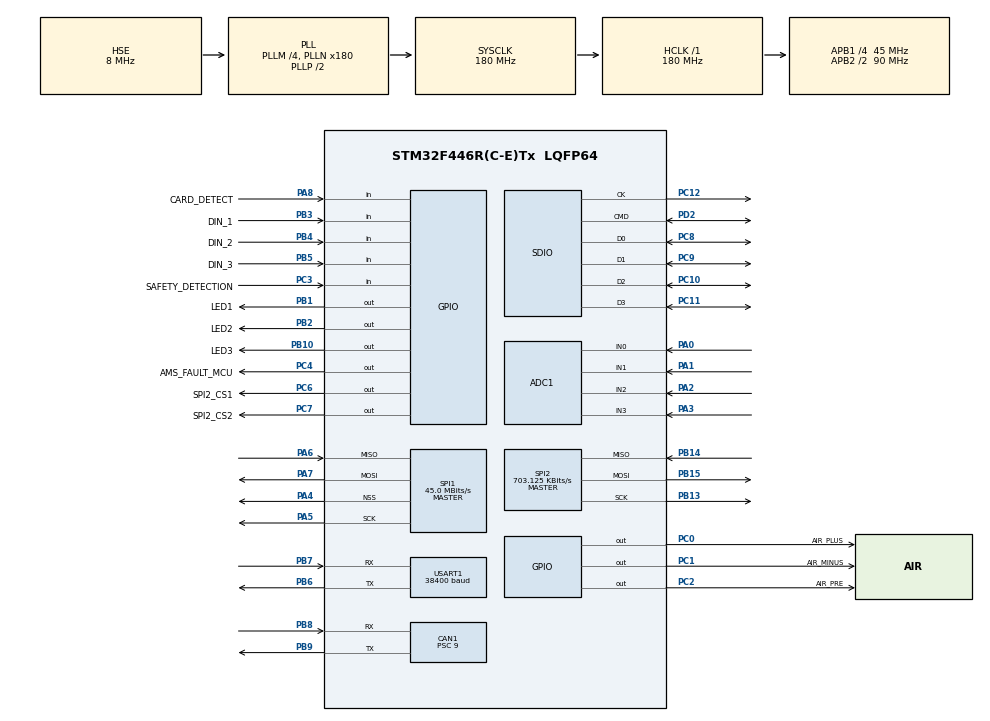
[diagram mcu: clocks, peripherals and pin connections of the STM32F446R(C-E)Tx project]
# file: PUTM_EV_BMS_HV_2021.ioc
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ADC1.Channel-0\#ChannelRegularConversion=ADC_CHANNEL_0
ADC1.Channel-1\#ChannelRegularConversion=ADC_CHANNEL_1
ADC1.Channel-2\#ChannelRegularConversion=ADC_CHANNEL_2
ADC1.Channel-3\#ChannelRegularConversion=ADC_CHANNEL_3
ADC1.DMAContinuousRequests=ENABLE
ADC1.EOCSelection=ADC_EOC_SEQ_CONV
ADC1.ExternalTrigConv=ADC_EXTERNALTRIGCONV_T8_TRGO
ADC1.NbrOfConversion=4
ADC1.NbrOfConversionFlag=1
ADC1.Rank-0\#ChannelRegularConversion=1
ADC1.Rank-1\#ChannelRegularConversion=2
ADC1.Rank-2\#ChannelRegularConversion=3
ADC1.Rank-3\#ChannelRegularConversion=4
ADC1.SamplingTime-0\#ChannelRegularConversion=ADC_SAMPLETIME_15CYCLES
ADC1.SamplingTime-1\#ChannelRegularConversion=ADC_SAMPLETIME_15CYCLES
ADC1.SamplingTime-2\#ChannelRegularConversion=ADC_SAMPLETIME_15CYCLES
ADC1.SamplingTime-3\#ChannelRegularConversion=ADC_SAMPLETIME_15CYCLES
ADC1.ScanConvMode=ENABLE
ADC1.master=1
CAN1.BS1=CAN_BS1_3TQ
CAN1.CalculateBaudRate=1000000
CAN1.CalculateTimeBit=1000
CAN1.CalculateTimeQuantum=200.0
CAN1.Prescaler=9
Dma.ADC1.0.Direction=DMA_PERIPH_TO_MEMORY
Dma.ADC1.0.FIFOMode=DMA_FIFOMODE_DISABLE
Dma.ADC1.0.Instance=DMA2_Stream0
Dma.ADC1.0.MemDataAlignment=DMA_MDATAALIGN_HALFWORD
Dma.ADC1.0.MemInc=DMA_MINC_ENABLE
Dma.ADC1.0.Mode=DMA_CIRCULAR
Dma.ADC1.0.PeriphDataAlignment=DMA_PDATAALIGN_HALFWORD
Dma.ADC1.0.PeriphInc=DMA_PINC_DISABLE
Dma.ADC1.0.Priority=DMA_PRIORITY_HIGH
Dma.Request0=ADC1
Dma.Request1=SDIO_RX
Dma.Request2=SDIO_TX
Dma.SDIO_RX.1.Direction=DMA_PERIPH_TO_MEMORY
Dma.SDIO_RX.1.FIFOMode=DMA_FIFOMODE_ENABLE
Dma.SDIO_RX.1.FIFOThreshold=DMA_FIFO_THRESHOLD_FULL
Dma.SDIO_RX.1.Instance=DMA2_Stream3
Dma.SDIO_RX.1.MemBurst=DMA_MBURST_INC4
Dma.SDIO_RX.1.MemDataAlignment=DMA_MDATAALIGN_WORD
Dma.SDIO_RX.1.MemInc=DMA_MINC_ENABLE
Dma.SDIO_RX.1.Mode=DMA_PFCTRL
Dma.SDIO_RX.1.PeriphBurst=DMA_PBURST_INC4
Dma.SDIO_RX.1.PeriphDataAlignment=DMA_PDATAALIGN_WORD
Dma.SDIO_RX.1.PeriphInc=DMA_PINC_DISABLE
Dma.SDIO_RX.1.Priority=DMA_PRIORITY_HIGH
Dma.SDIO_TX.2.Direction=DMA_MEMORY_TO_PERIPH
Dma.SDIO_TX.2.FIFOMode=DMA_FIFOMODE_ENABLE
Dma.SDIO_TX.2.FIFOThreshold=DMA_FIFO_THRESHOLD_FULL
Dma.SDIO_TX.2.Instance=DMA2_Stream6
Dma.SDIO_TX.2.MemBurst=DMA_MBURST_INC4
Dma.SDIO_TX.2.MemDataAlignment=DMA_MDATAALIGN_WORD
Dma.SDIO_TX.2.MemInc=DMA_MINC_ENABLE
Dma.SDIO_TX.2.Mode=DMA_PFCTRL
Dma.SDIO_TX.2.PeriphBurst=DMA_PBURST_INC4
Dma.SDIO_TX.2.PeriphDataAlignment=DMA_PDATAALIGN_WORD
Dma.SDIO_TX.2.PeriphInc=DMA_PINC_DISABLE
Dma.SDIO_TX.2.Priority=DMA_PRIORITY_HIGH
FATFS.BSP.number=1
FATFS.USE_DMA_CODE_SD=1
FATFS0.BSP.STBoard=false
FATFS0.BSP.api=Unknown
FATFS0.BSP.i2caddr=0
FATFS0.BSP.instance=PA8
FATFS0.BSP.ip=GPIO
FATFS0.BSP.mode=Input
FATFS0.BSP.name=Detect_SDIO
FATFS0.BSP.solution=PA8
Mcu.Family=STM32F4
Mcu.Name=STM32F446R(C-E)Tx
Mcu.Package=LQFP64
NVIC.CAN1_RX0_IRQn=true\:0\:0\:false\:false\:true\:true\:true\:true
NVIC.CAN1_RX1_IRQn=true\:0\:0\:false\:false\:true\:true\:true\:true
NVIC.CAN1_TX_IRQn=true\:0\:0\:false\:false\:true\:true\:true\:true
NVIC.DMA2_Stream0_IRQn=true\:0\:0\:false\:false\:true\:false\:true\:true
NVIC.DMA2_Stream3_IRQn=true\:0\:0\:false\:false\:true\:false\:true\:true
NVIC.DMA2_Stream6_IRQn=true\:0\:0\:false\:false\:true\:false\:true\:true
NVIC.PriorityGroup=NVIC_PRIORITYGROUP_4
NVIC.SDIO_IRQn=true\:0\:0\:false\:false\:true\:true\:true\:true
NVIC.SPI2_IRQn=true\:0\:0\:false\:false\:true\:true\:true\:true
NVIC.TIM1_BRK_TIM9_IRQn=true\:0\:0\:false\:false\:true\:true\:true\:true
NVIC.USART1_IRQn=true\:0\:0\:false\:false\:true\:true\:true\:true
PA0-WKUP.Signal=ADCx_IN0
PA1.Signal=ADCx_IN1
PA13.Mode=Serial_Wire
PA13.Signal=SYS_JTMS-SWDIO
PA14.Mode=Serial_Wire
PA14.Signal=SYS_JTCK-SWCLK
PA2.Signal=ADCx_IN2
PA3.Signal=ADCx_IN3
PA4.Mode=NSS_Signal_Hard_Output
PA4.Signal=SPI1_NSS
PA5.Mode=Full_Duplex_Master
PA5.Signal=SPI1_SCK
PA6.Mode=Full_Duplex_Master
PA6.Signal=SPI1_MISO
PA7.Mode=Full_Duplex_Master
PA7.Signal=SPI1_MOSI
PA8.GPIO_Label=CARD_DETECT
PA8.Signal=GPIO_Input
PB1.GPIO_Label=LED1
PB1.Signal=GPIO_Output
PB10.GPIO_Label=LED3
PB10.Signal=GPIO_Output
PB13.Mode=Full_Duplex_Master
PB13.Signal=SPI2_SCK
PB14.GPIO_PuPd=GPIO_NOPULL
PB14.Mode=Full_Duplex_Master
PB14.Signal=SPI2_MISO
PB15.Mode=Full_Duplex_Master
PB15.Signal=SPI2_MOSI
PB2.GPIO_Label=LED2
PB2.Signal=GPIO_Output
PB3.GPIO_Label=DIN_1
PB3.GPIO_PuPd=GPIO_NOPULL
PB3.Signal=GPIO_Input
PB4.GPIO_Label=DIN_2
PB4.GPIO_PuPd=GPIO_NOPULL
PB4.Signal=GPIO_Input
PB5.GPIO_Label=DIN_3
PB5.GPIO_PuPd=GPIO_NOPULL
PB5.Signal=GPIO_Input
PB6.Mode=Asynchronous
PB6.Signal=USART1_TX
PB7.Mode=Asynchronous
PB7.Signal=USART1_RX
PB8.Mode=CAN_Activate
PB8.Signal=CAN1_RX
PB9.Mode=CAN_Activate
PB9.Signal=CAN1_TX
PC0.GPIO_Label=AIR_PLUS
PC0.Signal=GPIO_Output
PC1.GPIO_Label=AIR_MINUS
PC1.Signal=GPIO_Output
PC10.Mode=SD_4_bits_Wide_bus
PC10.Signal=SDIO_D2
PC11.Mode=SD_4_bits_Wide_bus
PC11.Signal=SDIO_D3
PC12.Mode=SD_4_bits_Wide_bus
PC12.Signal=SDIO_CK
PC14-OSC32_IN.Mode=LSE-External-Oscillator
PC14-OSC32_IN.Signal=RCC_OSC32_IN
PC15-OSC32_OUT.Mode=LSE-External-Oscillator
PC15-OSC32_OUT.Signal=RCC_OSC32_OUT
PC2.GPIO_Label=AIR_PRE
PC2.Signal=GPIO_Output
PC3.GPIO_Label=SAFETY_DETECTION
PC3.Signal=GPIO_Input
PC4.GPIO_Label=AMS_FAULT_MCU
PC4.Signal=GPIO_Output
PC6.GPIO_Label=SPI2_CS1
PC6.Signal=GPIO_Output
PC7.GPIO_Label=SPI2_CS2
PC7.Signal=GPIO_Output
PC8.Mode=SD_4_bits_Wide_bus
PC8.Signal=SDIO_D0
PC9.Mode=SD_4_bits_Wide_bus
PC9.Signal=SDIO_D1
PD2.Mode=SD_4_bits_Wide_bus
PD2.Signal=SDIO_CMD
PH0-OSC_IN.Mode=HSE-External-Oscillator
PH0-OSC_IN.Signal=RCC_OSC_IN
PH1-OSC_OUT.Mode=HSE-External-Oscillator
PH1-OSC_OUT.Signal=RCC_OSC_OUT
ProjectManager.HeapSize=0x200
ProjectManager.StackSize=0x400
ProjectManager.TargetToolchain=STM32CubeIDE
RCC.AHBFreq_Value=180000000
RCC.APB1CLKDivider=RCC_HCLK_DIV4
RCC.APB1Freq_Value=45000000
RCC.APB1TimFreq_Value=90000000
RCC.APB2CLKDivider=RCC_HCLK_DIV2
RCC.APB2Freq_Value=90000000
RCC.APB2TimFreq_Value=180000000
RCC.CortexFreq_Value=180000000
RCC.HCLKFreq_Value=180000000
RCC.HSE_VALUE=8000000
RCC.PLLM=4
RCC.PLLN=180
RCC.PLLQ=8
RCC.PLLSourceVirtual=RCC_PLLSOURCE_HSE
RCC.RCC_RTC_Clock_SourceVirtual=RCC_RTCCLKSOURCE_LSE
RCC.SYSCLKFreq_VALUE=180000000
RCC.SYSCLKSource=RCC_SYSCLKSOURCE_PLLCLK
RCC.USBFreq_Value=45000000
RCC.VCOOutputFreq_Value=360000000
RTC.Format=RTC_FORMAT_BIN
SDIO.ClockDiv=0
SH.ADCx_IN0.0=ADC1_IN0,IN0
SH.ADCx_IN1.0=ADC1_IN1,IN1
SH.ADCx_IN2.0=ADC1_IN2,IN2
SH.ADCx_IN3.0=ADC1_IN3,IN3
SPI1.BaudRatePrescaler=SPI_BAUDRATEPRESCALER_2
SPI1.CLKPhase=SPI_PHASE_2EDGE
SPI1.CLKPolarity=SPI_POLARITY_HIGH
SPI1.CalculateBaudRate=45.0 MBits/s
SPI1.Direction=SPI_DIRECTION_2LINES
SPI1.Mode=SPI_MODE_MASTER
SPI1.VirtualNSS=VM_NSSHARD
SPI1.VirtualType=VM_MASTER
SPI2.BaudRatePrescaler=SPI_BAUDRATEPRESCALER_64
SPI2.CLKPhase=SPI_PHASE_2EDGE
SPI2.CLKPolarity=SPI_POLARITY_HIGH
SPI2.CalculateBaudRate=703.125 KBits/s
SPI2.Direction=SPI_DIRECTION_2LINES
SPI2.Mode=SPI_MODE_MASTER
SPI2.VirtualType=VM_MASTER
TIM1.Prescaler=179
TIM8.Period=199
TIM8.Prescaler=179
TIM8.TIM_MasterOutputTrigger=TIM_TRGO_UPDATE
TIM9.Period=999
TIM9.Prescaler=179
USART1.BaudRate=38400
USART1.VirtualMode=VM_ASYNC
VP_FATFS_VS_SDIO.Mode=SDIO
VP_RTC_VS_RTC_Activate.Mode=RTC_Enabled
VP_RTC_VS_RTC_Calendar.Mode=RTC_Calendar
VP_TIM1_VS_ClockSourceINT.Mode=Internal
VP_TIM8_VS_ClockSourceINT.Mode=Internal
VP_TIM9_VS_ClockSourceINT.Mode=Internal
board=custom

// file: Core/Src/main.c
/* USER CODE BEGIN Header */
/**
  ******************************************************************************
  * @file           : main.c
  * @brief          : Main program body
  ******************************************************************************
  * @attention
  *
  * <h2><center>&copy; Copyright (c) 2021 STMicroelectronics.
  * All rights reserved.</center></h2>
  *
  * This software component is licensed by ST under BSD 3-Clause license,
  * the "License"; You may not use this file except in compliance with the
  * License. You may obtain a copy of the License at:
  *                        opensource.org/licenses/BSD-3-Clause
  *
  ******************************************************************************
  */
/* USER CODE END Header */
#include "main.h"
#include "fatfs.h"

/* USER CODE BEGIN Includes */
#include "serialport.h"
#include "string.h"
#include "utility.h"
#include "stdio.h"
#include "ltc_stack.h"
/* USER CODE END Includes */

/* USER CODE BEGIN PTD */
struct analog_result_type{
	int16_t output_current;
	int16_t output_voltage;
	int16_t accumulator_voltage;
	int32_t output_power;
	uint32_t tick;
};

struct accumulator_result_type{
	int16_t total_voltage;
	int16_t min_cell_voltage;
	int16_t max_cell_voltage;
	int16_t temperature;
};

//#define LTC_DEVICES_IN_STACK	15
//struct ltc_stack_type{
//	SPI_HandleTypeDef *hspi;
//	GPIO_TypeDef *CS_GPIO;
//	uint16_t CS_PIN;
//
//	uint16_t cell_voltages[12 * LTC_DEVICES_IN_STACK];
//	int16_t temperatures[5 * LTC_DEVICES_IN_STACK];
//	uint8_t balance_flags[12 * LTC_DEVICES_IN_STACK];
//	uint8_t balancing_activation;
//	uint16_t balance_voltage;
//
//	uint8_t spi_comm_state;
//	uint32_t spi_comm_next_tick; // for delay control for conversions
//	// constant messages
//	uint8_t spi_msg_config[4 + 8*LTC_DEVICES_IN_STACK];
//	uint8_t spi_msg_adcv[4];
//	uint8_t spi_msg_adax[4];
//	uint8_t spi_msg_read_cell_a[4];
//	uint8_t spi_msg_read_cell_b[4];
//	uint8_t spi_msg_read_cell_c[4];
//	uint8_t spi_msg_read_cell_d[4];
//	uint8_t spi_msg_read_aux_a[4];
//	uint8_t spi_msg_read_aux_b[4];
//	// not constant messages buffers
//	uint8_t spi_tx_buffer[4 + 8*LTC_DEVICES_IN_STACK];
//	uint8_t spi_rx_buffer[4 + 8*LTC_DEVICES_IN_STACK];
//	uint8_t tx_busy;
//	uint8_t rx_ready;
//};

struct analog_type{
	ADC_HandleTypeDef *hadc;
	TIM_HandleTypeDef *htim;

	uint16_t raw_buf[400*4];
	uint16_t raw_tail;

	struct analog_result_type result_buf[10];
	uint16_t result_tail;
	uint16_t result_head;
};
/* USER CODE END PTD */

/* USER CODE BEGIN PD */
#define COEFF_VOLT_PER_ADC		1.7241f	// L 10k, 22k; H 200k, 10k
#define COEFF_AMPERE_PER_ADC	0.12891f

#define CANBUS_MODE_CAR		0x01
#define CANBUS_MODE_CHARGER	0x02
/* USER CODE END PD */

ADC_HandleTypeDef hadc1;
DMA_HandleTypeDef hdma_adc1;

CAN_HandleTypeDef hcan1;

RTC_HandleTypeDef hrtc;

SD_HandleTypeDef hsd;
DMA_HandleTypeDef hdma_sdio_rx;
DMA_HandleTypeDef hdma_sdio_tx;

SPI_HandleTypeDef hspi1;
SPI_HandleTypeDef hspi2;

TIM_HandleTypeDef htim1;
TIM_HandleTypeDef htim8;
TIM_HandleTypeDef htim9;

UART_HandleTypeDef huart1;

/* USER CODE BEGIN PV */
struct analog_type analog;

uint16_t analog_avg[4];
uint16_t analog_max;
uint16_t output_voltage;
int16_t output_current;

uint8_t sd_log_activated;
char filename[50];
char filename_current[50];
FATFS fat_fs;
FIL file;
FIL file_current;
//char line[100];
FRESULT fat_result;
uint8_t sd_buffer[3000];
uint16_t sd_buffer_tail = 0;
uint16_t sd_bytes_to_write = 0;
uint32_t aaa_us_cntr = 0;

//float voltages[10*DAISY_SIZE];

extern struct stack_data_type stack_data;

volatile uint8_t global_stack_fault = 0;

uint8_t can_mode = CANBUS_MODE_CAR;
/* USER CODE END PV */

void SystemClock_Config(void);
static void MX_GPIO_Init(void);
static void MX_DMA_Init(void);
static void MX_ADC1_Init(void);
static void MX_CAN1_Init(void);
static void MX_SDIO_SD_Init(void);
static void MX_SPI1_Init(void);
static void MX_SPI2_Init(void);
static void MX_USART1_UART_Init(void);
static void MX_RTC_Init(void);
static void MX_TIM8_Init(void);
static void MX_TIM1_Init(void);
static void MX_TIM9_Init(void);
/* USER CODE BEGIN PFP */

void CAN_Init_Charger();
void AnalogInit(ADC_HandleTypeDef *hadc, TIM_HandleTypeDef *htim);
void AnalogThread();
uint16_t Analog_Get_Fill_Level();
void MainInterruptCallback();
void RelayControlThread();
void FaultThread();
void SdInitFile();
void SdSaveProcess();

void ConsoleSimple();
void CanbusThread();
/* USER CODE END PFP */

/* USER CODE BEGIN 0 */

void CAN_Init_Charger()
{
	  hcan1.Instance = CAN1;
	  hcan1.Init.Prescaler = 18;
	  hcan1.Init.Mode = CAN_MODE_NORMAL;
	  hcan1.Init.SyncJumpWidth = CAN_SJW_1TQ;
	  hcan1.Init.TimeSeg1 = CAN_BS1_3TQ;
	  hcan1.Init.TimeSeg2 = CAN_BS2_1TQ;
	  hcan1.Init.TimeTriggeredMode = DISABLE;
	  hcan1.Init.AutoBusOff = DISABLE;
	  hcan1.Init.AutoWakeUp = DISABLE;
	  hcan1.Init.AutoRetransmission = DISABLE;
	  hcan1.Init.ReceiveFifoLocked = DISABLE;
	  hcan1.Init.TransmitFifoPriority = DISABLE;
	  if (HAL_CAN_Init(&hcan1) != HAL_OK)
	  {
	    Error_Handler();
	  }
	  can_mode = CANBUS_MODE_CHARGER;
}

void AnalogInit(ADC_HandleTypeDef *hadc, TIM_HandleTypeDef *htim)
{
	analog.hadc = hadc;
	analog.htim = htim;

	HAL_ADC_Start_DMA(hadc, (uint32_t*)&analog.raw_buf[0], 1600);
	HAL_TIM_Base_Start(htim);
}

void AnalogThread()
{
	if (Analog_Get_Fill_Level() >= 20)
	{
		// calculate values
		uint32_t sum[4] = {0};
		for (int i = analog.raw_tail; i < analog.raw_tail+20; i+=4)
		{
			sum[0] += analog.raw_buf[i];
			sum[1] += analog.raw_buf[i+1];
			sum[2] += analog.raw_buf[i+2];
			sum[3] += analog.raw_buf[i+3];
		}

		analog_avg[0] = sum[0] / 5;
		analog_avg[1] = sum[1] / 5;
		analog_avg[2] = sum[2] / 5;
		analog_avg[3] = sum[3] / 5;

		output_voltage = (uint16_t)((float)analog_avg[2]*COEFF_VOLT_PER_ADC);
		//output_current = (int16_t)
//		uint16_t max = 0;
//		for (int i = analog.raw_tail; i < analog.raw_tail+400; i+=4)
//		{
//			if (analog.raw_buf[i+1] > max)
//				max = analog.raw_buf[i+1];
//
//		}
//		analog_max = max;

		// advance tail
		analog.raw_tail += 20;
		analog.raw_tail %= 1600;
	}
}

uint16_t Analog_Get_Fill_Level()
{
	uint32_t head = 1600 - analog.hadc->DMA_Handle->Instance->NDTR;
	uint32_t tail = analog.raw_tail;
	if (head > tail) return head - tail;
	else if (head < tail) return 1600 - tail + head;
	else return 0;
}

void SdInitFile()
{
	char folder_path[20];
	RTC_DateTypeDef rtc_date;
	RTC_TimeTypeDef rtc_time;
	HAL_RTC_GetTime(&hrtc, &rtc_time, RTC_FORMAT_BIN);
	HAL_RTC_GetDate(&hrtc, &rtc_date, RTC_FORMAT_BIN);
	if (BSP_SD_IsDetected() == SD_NOT_PRESENT)
	{
		sd_log_activated = 0;
		return;
	}

	f_mount(&fat_fs, SDPath, 0);

	sprintf(folder_path, "%02d%02d%02d", (rtc_date.Year%100), rtc_date.Month, rtc_date.Date);
	fat_result = f_mkdir(folder_path);

	sprintf(folder_path, "%s/%02d%02d", folder_path, rtc_time.Hours, rtc_time.Minutes);
	fat_result = f_mkdir(folder_path);

	// main log file
	uint16_t file_no = 1;
	do{
		sprintf(filename, "%s/log_%d.txt", folder_path, file_no);
		fat_result = f_open(&file, filename, FA_CREATE_NEW|FA_WRITE);
		file_no++;
	}while(fat_result == FR_EXIST && file_no != 0);

	// file with current data
	file_no = 1;
	do{
		sprintf(filename_current, "%s/I_%d.txt", folder_path, file_no);
		fat_result = f_open(&file_current, filename_current, FA_CREATE_NEW|FA_WRITE);
		file_no++;
	}while(fat_result == FR_EXIST && file_no != 0);

	if(fat_result == FR_OK)
		sd_log_activated = 1;
	else
		sd_log_activated = 0;
}

void SdSaveProcess()
{
	// main log
	if(sd_bytes_to_write != sd_buffer_tail && sd_log_activated == 1)
	{
		htim1.Instance->CNT = 0;
		//HAL_GPIO_WritePin(LED2_GPIO_Port, LED2_Pin, SET);
		uint16_t length_to_write = sd_bytes_to_write - sd_buffer_tail;
		//if(length_to_write > 750) length_to_write = 750;

		UINT bytes_written = 0;
		// write to file
		//fat_result = f_open(&file, filename, FA_WRITE | FA_OPEN_APPEND);
		fat_result = f_write(&file, &sd_buffer[sd_buffer_tail], length_to_write, &bytes_written);
		fat_result = f_sync(&file);

		sd_buffer_tail += length_to_write;

		if(fat_result != FR_OK || length_to_write != bytes_written)
		{
			sd_log_activated = 0;
			sd_buffer_tail = 0;
			sd_bytes_to_write = 0;
		}
		//HAL_GPIO_WritePin(LED2_GPIO_Port, LED2_Pin, RESET);

		aaa_us_cntr = htim1.Instance->CNT;
	}

//	static uint8_t sd_i_buffer[1000];
//	static uint16_t n = 0;
//	static uint32_t samples = 0;
//	// I log
//	if (output_current_buffer_ready == 1)
//	{
//		n = 0;
//		for (int i = 0; i < 50; i++)
//		{
//			samples++;
//			n += sprintf(&sd_i_buffer[n], "%d;%3.2f\n", samples, output_current_buffer[i]);
//		}
//
//		UINT bytes_written = 0;
//		fat_result = f_write(&file_current, &sd_i_buffer[0], n, &bytes_written);
//		fat_result = f_sync(&file_current);
//
//		if(fat_result != FR_OK || n != bytes_written)
//		{
//			sd_log_activated = 0;
//			sd_buffer_tail = 0;
//			sd_bytes_to_write = 0;
//		}
//
//		output_current_buffer_ready = 0;
//	}
}

void MainInterruptCallback()
{
	static uint8_t thread_busy = 0;

	if (thread_busy == 1) return;

	thread_busy = 1;

	// control of the bms
	RelayControlThread();
	AnalogThread();
	LtcCommunicationThread();
	ConsoleSimple();
	CanbusThread();

	FaultThread();

	thread_busy = 0;
}

/*
 * brief:	control of the AIRs
 * param:	none
 * retval:	none
 */
void RelayControlThread()
{
	static uint8_t thread_state = 0;
	static uint32_t next_tick = 0;

	uint8_t safety_state = SafetyStateRead();

	// switch relays off when safety is missing
	if (thread_state != 0 && safety_state == 0)
	{
		// switch AIRs off
		AIR_MINUS_Set(0);
		AIR_PLUS_Set(0);
		AIR_PRECHARGE_Set(0);
		// turn off led
		LedSet(2, 0);
		thread_state = 0;
	}

	if (thread_state == 0)
	{
		// switch on AIR MINUS when safety voltage detected
		if (safety_state == 1)
		{
			next_tick = HAL_GetTick() + 100;
			AIR_MINUS_Set(1);
			thread_state++;
		}
	}
	else if (thread_state == 1)
	{
		// wait after first switch
		if (next_tick <= HAL_GetTick())
		{
			// switch on the precharge
			AIR_PRECHARGE_Set(1);
			next_tick = HAL_GetTick() + 10000;
			thread_state++;
		}
	}
	else if (thread_state == 2)
	{
		// wait - the capacitors are precharging
		if (next_tick <= HAL_GetTick())
		{
			// switch on main PLUS
			AIR_PLUS_Set(1);
			next_tick = HAL_GetTick() + 100;
			thread_state++;
		}
	}
	else if (thread_state == 3)
	{
		// switch off precharge relay
		if (next_tick <= HAL_GetTick())
		{
			AIR_PRECHARGE_Set(0);
			LedSet(2, 1);
			thread_state++;
		}
	}
	else if (thread_state == 4)
	{
		// full on
	}
}

/*
 * brief:	controls the safety relay
 * param:	none
 * retval:	none
 */
void FaultThread()
{
	// initial
	// set high after init for the first time, only when there is no stack fault
	if (HAL_GetTick() > 500 && HAL_GetTick() < 2000)
	{
		if (LtcGetStackError() == 0)
		{
			FaultOutputSet(1);
			LedSet(1, 1);
		}
	}
	else if (HAL_GetTick() < 2500)
	{
		FaultOutputSet(0);
	}
	else
	{
		// when stack fault occurred switch off the safety relay
		if (LtcGetStackError() != 0)
		{
			FaultOutputSet(1);
			LedSet(1, 0);
		}
	}
}

void ConsoleSimple()
{
	static uint32_t last_data_tick = 0;
	if (last_data_tick == stack_data.data_refresh_tick) return;
	last_data_tick = stack_data.data_refresh_tick;

	char string[1000], dis_char;
	uint16_t n = 0;
	for (int i = 0; i < 27; i++)
	{
		dis_char = ' ';
		if (stack_data.discharge[i] == 1) dis_char = 'D';
		n += sprintf(&string[n], "%d%c\t", stack_data.voltages[i], dis_char);
	}
	string[n++] = '\r';
	string[n++] = '\n';

	SerialportWrite((uint8_t*)string, n);
}

/*
 *
 */
void CanbusThread()
{
	uint32_t next_send_tick = 20;

	if (next_send_tick <= HAL_GetTick())
	{
		next_send_tick += 20;

		uint8_t data[8] = {0};
		// output current
		data[0] = output_current;
		data[1] = output_current >> 8;
		// output voltage
		uint16_t total_voltage = (uint16_t)(stack_data.total_voltage_mv / 100);
		data[2] = total_voltage;
		data[3] = total_voltage >> 8;
		// temperature max
		int16_t temp_can = stack_data.temperature_max / 5;
		if (temp_can > 127) temp_can = 127;
		data[4] = temp_can;
		// state of charge
		data[5] = 0;
		// status
		data[6] = 0;
		// errors
		data[7] = 0;

		CAN_TxHeaderTypeDef tx_header;
		uint32_t mailbox;
		tx_header.DLC = 8;
		tx_header.RTR = CAN_RTR_DATA;
		tx_header.StdId = 0x0E;
		tx_header.IDE = CAN_ID_STD;

		HAL_CAN_AddTxMessage(&hcan1, &tx_header, data, &mailbox);
	}
}

/* USER CODE END 0 */

int main(void)
{

  /* MCU Configuration--------------------------------------------------------*/

  /* Reset of all peripherals, Initializes the Flash interface and the Systick. */
  HAL_Init();

  /* Configure the system clock */
  SystemClock_Config();

  /* Initialize all configured peripherals */
  MX_GPIO_Init();
  MX_DMA_Init();
  MX_ADC1_Init();
  MX_CAN1_Init();
  MX_SDIO_SD_Init();
  MX_SPI1_Init();
  MX_SPI2_Init();
  MX_USART1_UART_Init();
  MX_RTC_Init();
  MX_TIM8_Init();
  MX_FATFS_Init();
  MX_TIM1_Init();
  MX_TIM9_Init();
  /* USER CODE BEGIN 2 */

  HAL_TIM_Base_Start(&htim1);

  if (InputRead(1)) CAN_Init_Charger();

  SdInitFile();

  AnalogInit(&hadc1, &htim8);

  SerialportOpen(&huart1);

  LtcInit(&hspi2, SPI2_CS1_GPIO_Port, SPI2_CS1_Pin);

  // timer for main threading
  HAL_TIM_Base_Start_IT(&htim9);

  /* USER CODE END 2 */

  /* Infinite loop */
  /* USER CODE BEGIN WHILE */
  uint32_t next_tick = 1000;
  char test_string[1100] = {0};
  while (1)
  {

	  if (next_tick < HAL_GetTick() && 0)
	  {
		  next_tick += 200;

		  RTC_DateTypeDef rtc_date;
		  RTC_TimeTypeDef rtc_time;
		  HAL_RTC_GetTime(&hrtc, &rtc_time, RTC_FORMAT_BIN);
		  HAL_RTC_GetDate(&hrtc, &rtc_date, RTC_FORMAT_BIN);

		  uint32_t subsec = ((rtc_time.SecondFraction-rtc_time.SubSeconds)*1000)/(rtc_time.SecondFraction+1);
		  int n = sprintf(test_string, "%02d:%02d:%02d.%03d\n", (int)rtc_time.Hours, (int)rtc_time.Minutes, (int)rtc_time.Seconds, (int)subsec);

		  sd_bytes_to_write = 0;
		  sd_buffer_tail = 0;
		  for (int i = 0; i < n; i++)
		  {
			  sd_buffer[i] = test_string[i];
			  sd_bytes_to_write++;
		  }

		  for ( ; sd_bytes_to_write < 999; sd_bytes_to_write++) sd_buffer[sd_bytes_to_write] = '-';
		  sd_buffer[sd_bytes_to_write++] = '\n';
	  }

	  SdSaveProcess();
    /* USER CODE END WHILE */

  }
}

void SystemClock_Config(void)
{
  RCC_OscInitTypeDef RCC_OscInitStruct = {0};
  RCC_ClkInitTypeDef RCC_ClkInitStruct = {0};
  RCC_PeriphCLKInitTypeDef PeriphClkInitStruct = {0};

  /** Configure the main internal regulator output voltage
  */
  __HAL_RCC_PWR_CLK_ENABLE();
  __HAL_PWR_VOLTAGESCALING_CONFIG(PWR_REGULATOR_VOLTAGE_SCALE1);
  /** Initializes the RCC Oscillators according to the specified parameters
  * in the RCC_OscInitTypeDef structure.
  */
  RCC_OscInitStruct.OscillatorType = RCC_OSCILLATORTYPE_HSE|RCC_OSCILLATORTYPE_LSE;
  RCC_OscInitStruct.HSEState = RCC_HSE_ON;
  RCC_OscInitStruct.LSEState = RCC_LSE_ON;
  RCC_OscInitStruct.PLL.PLLState = RCC_PLL_ON;
  RCC_OscInitStruct.PLL.PLLSource = RCC_PLLSOURCE_HSE;
  RCC_OscInitStruct.PLL.PLLM = 4;
  RCC_OscInitStruct.PLL.PLLN = 180;
  RCC_OscInitStruct.PLL.PLLP = RCC_PLLP_DIV2;
  RCC_OscInitStruct.PLL.PLLQ = 8;
  RCC_OscInitStruct.PLL.PLLR = 2;
  if (HAL_RCC_OscConfig(&RCC_OscInitStruct) != HAL_OK)
  {
    Error_Handler();
  }
  /** Activate the Over-Drive mode
  */
  if (HAL_PWREx_EnableOverDrive() != HAL_OK)
  {
    Error_Handler();
  }
  /** Initializes the CPU, AHB and APB buses clocks
  */
  RCC_ClkInitStruct.ClockType = RCC_CLOCKTYPE_HCLK|RCC_CLOCKTYPE_SYSCLK
                              |RCC_CLOCKTYPE_PCLK1|RCC_CLOCKTYPE_PCLK2;
  RCC_ClkInitStruct.SYSCLKSource = RCC_SYSCLKSOURCE_PLLCLK;
  RCC_ClkInitStruct.AHBCLKDivider = RCC_SYSCLK_DIV1;
  RCC_ClkInitStruct.APB1CLKDivider = RCC_HCLK_DIV4;
  RCC_ClkInitStruct.APB2CLKDivider = RCC_HCLK_DIV2;

  if (HAL_RCC_ClockConfig(&RCC_ClkInitStruct, FLASH_LATENCY_5) != HAL_OK)
  {
    Error_Handler();
  }
  PeriphClkInitStruct.PeriphClockSelection = RCC_PERIPHCLK_RTC|RCC_PERIPHCLK_SDIO
                              |RCC_PERIPHCLK_CLK48;
  PeriphClkInitStruct.RTCClockSelection = RCC_RTCCLKSOURCE_LSE;
  PeriphClkInitStruct.Clk48ClockSelection = RCC_CLK48CLKSOURCE_PLLQ;
  PeriphClkInitStruct.SdioClockSelection = RCC_SDIOCLKSOURCE_CLK48;
  if (HAL_RCCEx_PeriphCLKConfig(&PeriphClkInitStruct) != HAL_OK)
  {
    Error_Handler();
  }
}

static void MX_ADC1_Init(void)
{

  ADC_ChannelConfTypeDef sConfig = {0};

  /** Configure the global features of the ADC (Clock, Resolution, Data Alignment and number of conversion)
  */
  hadc1.Instance = ADC1;
  hadc1.Init.ClockPrescaler = ADC_CLOCK_SYNC_PCLK_DIV4;
  hadc1.Init.Resolution = ADC_RESOLUTION_12B;
  hadc1.Init.ScanConvMode = ENABLE;
  hadc1.Init.ContinuousConvMode = DISABLE;
  hadc1.Init.DiscontinuousConvMode = DISABLE;
  hadc1.Init.ExternalTrigConvEdge = ADC_EXTERNALTRIGCONVEDGE_RISING;
  hadc1.Init.ExternalTrigConv = ADC_EXTERNALTRIGCONV_T8_TRGO;
  hadc1.Init.DataAlign = ADC_DATAALIGN_RIGHT;
  hadc1.Init.NbrOfConversion = 4;
  hadc1.Init.DMAContinuousRequests = ENABLE;
  hadc1.Init.EOCSelection = ADC_EOC_SEQ_CONV;
  if (HAL_ADC_Init(&hadc1) != HAL_OK)
  {
    Error_Handler();
  }
  /** Configure for the selected ADC regular channel its corresponding rank in the sequencer and its sample time.
  */
  sConfig.Channel = ADC_CHANNEL_0;
  sConfig.Rank = 1;
  sConfig.SamplingTime = ADC_SAMPLETIME_15CYCLES;
  if (HAL_ADC_ConfigChannel(&hadc1, &sConfig) != HAL_OK)
  {
    Error_Handler();
  }
  /** Configure for the selected ADC regular channel its corresponding rank in the sequencer and its sample time.
  */
  sConfig.Channel = ADC_CHANNEL_1;
  sConfig.Rank = 2;
  if (HAL_ADC_ConfigChannel(&hadc1, &sConfig) != HAL_OK)
  {
    Error_Handler();
  }
  /** Configure for the selected ADC regular channel its corresponding rank in the sequencer and its sample time.
  */
  sConfig.Channel = ADC_CHANNEL_2;
  sConfig.Rank = 3;
  if (HAL_ADC_ConfigChannel(&hadc1, &sConfig) != HAL_OK)
  {
    Error_Handler();
  }
  /** Configure for the selected ADC regular channel its corresponding rank in the sequencer and its sample time.
  */
  sConfig.Channel = ADC_CHANNEL_3;
  sConfig.Rank = 4;
  if (HAL_ADC_ConfigChannel(&hadc1, &sConfig) != HAL_OK)
  {
    Error_Handler();
  }

}

static void MX_CAN1_Init(void)
{

  hcan1.Instance = CAN1;
  hcan1.Init.Prescaler = 9;
  hcan1.Init.Mode = CAN_MODE_NORMAL;
  hcan1.Init.SyncJumpWidth = CAN_SJW_1TQ;
  hcan1.Init.TimeSeg1 = CAN_BS1_3TQ;
  hcan1.Init.TimeSeg2 = CAN_BS2_1TQ;
  hcan1.Init.TimeTriggeredMode = DISABLE;
  hcan1.Init.AutoBusOff = DISABLE;
  hcan1.Init.AutoWakeUp = DISABLE;
  hcan1.Init.AutoRetransmission = DISABLE;
  hcan1.Init.ReceiveFifoLocked = DISABLE;
  hcan1.Init.TransmitFifoPriority = DISABLE;
  if (HAL_CAN_Init(&hcan1) != HAL_OK)
  {
    Error_Handler();
  }

}

static void MX_RTC_Init(void)
{

  RTC_TimeTypeDef sTime = {0};
  RTC_DateTypeDef sDate = {0};

  /** Initialize RTC Only
  */
  hrtc.Instance = RTC;
  hrtc.Init.HourFormat = RTC_HOURFORMAT_24;
  hrtc.Init.AsynchPrediv = 127;
  hrtc.Init.SynchPrediv = 255;
  hrtc.Init.OutPut = RTC_OUTPUT_DISABLE;
  hrtc.Init.OutPutPolarity = RTC_OUTPUT_POLARITY_HIGH;
  hrtc.Init.OutPutType = RTC_OUTPUT_TYPE_OPENDRAIN;
  if (HAL_RTC_Init(&hrtc) != HAL_OK)
  {
    Error_Handler();
  }

  /* USER CODE BEGIN Check_RTC_BKUP */
  return;
  /* USER CODE END Check_RTC_BKUP */

  /** Initialize RTC and set the Time and Date
  */
  sTime.Hours = 0;
  sTime.Minutes = 0;
  sTime.Seconds = 0;
  sTime.DayLightSaving = RTC_DAYLIGHTSAVING_NONE;
  sTime.StoreOperation = RTC_STOREOPERATION_RESET;
  if (HAL_RTC_SetTime(&hrtc, &sTime, RTC_FORMAT_BIN) != HAL_OK)
  {
    Error_Handler();
  }
  sDate.WeekDay = RTC_WEEKDAY_MONDAY;
  sDate.Month = RTC_MONTH_JANUARY;
  sDate.Date = 1;
  sDate.Year = 0;

  if (HAL_RTC_SetDate(&hrtc, &sDate, RTC_FORMAT_BIN) != HAL_OK)
  {
    Error_Handler();
  }

}

static void MX_SDIO_SD_Init(void)
{

  hsd.Instance = SDIO;
  hsd.Init.ClockEdge = SDIO_CLOCK_EDGE_RISING;
  hsd.Init.ClockBypass = SDIO_CLOCK_BYPASS_DISABLE;
  hsd.Init.ClockPowerSave = SDIO_CLOCK_POWER_SAVE_DISABLE;
  hsd.Init.BusWide = SDIO_BUS_WIDE_1B;
  hsd.Init.HardwareFlowControl = SDIO_HARDWARE_FLOW_CONTROL_DISABLE;
  hsd.Init.ClockDiv = 0;

}

static void MX_SPI1_Init(void)
{

  /* SPI1 parameter configuration*/
  hspi1.Instance = SPI1;
  hspi1.Init.Mode = SPI_MODE_MASTER;
  hspi1.Init.Direction = SPI_DIRECTION_2LINES;
  hspi1.Init.DataSize = SPI_DATASIZE_8BIT;
  hspi1.Init.CLKPolarity = SPI_POLARITY_HIGH;
  hspi1.Init.CLKPhase = SPI_PHASE_2EDGE;
  hspi1.Init.NSS = SPI_NSS_HARD_OUTPUT;
  hspi1.Init.BaudRatePrescaler = SPI_BAUDRATEPRESCALER_2;
  hspi1.Init.FirstBit = SPI_FIRSTBIT_MSB;
  hspi1.Init.TIMode = SPI_TIMODE_DISABLE;
  hspi1.Init.CRCCalculation = SPI_CRCCALCULATION_DISABLE;
  hspi1.Init.CRCPolynomial = 10;
  if (HAL_SPI_Init(&hspi1) != HAL_OK)
  {
    Error_Handler();
  }

}

static void MX_SPI2_Init(void)
{

  /* SPI2 parameter configuration*/
  hspi2.Instance = SPI2;
  hspi2.Init.Mode = SPI_MODE_MASTER;
  hspi2.Init.Direction = SPI_DIRECTION_2LINES;
  hspi2.Init.DataSize = SPI_DATASIZE_8BIT;
  hspi2.Init.CLKPolarity = SPI_POLARITY_HIGH;
  hspi2.Init.CLKPhase = SPI_PHASE_2EDGE;
  hspi2.Init.NSS = SPI_NSS_SOFT;
  hspi2.Init.BaudRatePrescaler = SPI_BAUDRATEPRESCALER_64;
  hspi2.Init.FirstBit = SPI_FIRSTBIT_MSB;
  hspi2.Init.TIMode = SPI_TIMODE_DISABLE;
  hspi2.Init.CRCCalculation = SPI_CRCCALCULATION_DISABLE;
  hspi2.Init.CRCPolynomial = 10;
  if (HAL_SPI_Init(&hspi2) != HAL_OK)
  {
    Error_Handler();
  }

}

static void MX_TIM1_Init(void)
{

  TIM_ClockConfigTypeDef sClockSourceConfig = {0};
  TIM_MasterConfigTypeDef sMasterConfig = {0};

  htim1.Instance = TIM1;
  htim1.Init.Prescaler = 179;
  htim1.Init.CounterMode = TIM_COUNTERMODE_UP;
  htim1.Init.Period = 65535;
  htim1.Init.ClockDivision = TIM_CLOCKDIVISION_DIV1;
  htim1.Init.RepetitionCounter = 0;
  htim1.Init.AutoReloadPreload = TIM_AUTORELOAD_PRELOAD_DISABLE;
  if (HAL_TIM_Base_Init(&htim1) != HAL_OK)
  {
    Error_Handler();
  }
  sClockSourceConfig.ClockSource = TIM_CLOCKSOURCE_INTERNAL;
  if (HAL_TIM_ConfigClockSource(&htim1, &sClockSourceConfig) != HAL_OK)
  {
    Error_Handler();
  }
  sMasterConfig.MasterOutputTrigger = TIM_TRGO_RESET;
  sMasterConfig.MasterSlaveMode = TIM_MASTERSLAVEMODE_DISABLE;
  if (HAL_TIMEx_MasterConfigSynchronization(&htim1, &sMasterConfig) != HAL_OK)
  {
    Error_Handler();
  }

}

static void MX_TIM8_Init(void)
{

  TIM_ClockConfigTypeDef sClockSourceConfig = {0};
  TIM_MasterConfigTypeDef sMasterConfig = {0};

  htim8.Instance = TIM8;
  htim8.Init.Prescaler = 179;
  htim8.Init.CounterMode = TIM_COUNTERMODE_UP;
  htim8.Init.Period = 199;
  htim8.Init.ClockDivision = TIM_CLOCKDIVISION_DIV1;
  htim8.Init.RepetitionCounter = 0;
  htim8.Init.AutoReloadPreload = TIM_AUTORELOAD_PRELOAD_DISABLE;
  if (HAL_TIM_Base_Init(&htim8) != HAL_OK)
  {
    Error_Handler();
  }
  sClockSourceConfig.ClockSource = TIM_CLOCKSOURCE_INTERNAL;
  if (HAL_TIM_ConfigClockSource(&htim8, &sClockSourceConfig) != HAL_OK)
  {
    Error_Handler();
  }
  sMasterConfig.MasterOutputTrigger = TIM_TRGO_UPDATE;
  sMasterConfig.MasterSlaveMode = TIM_MASTERSLAVEMODE_DISABLE;
  if (HAL_TIMEx_MasterConfigSynchronization(&htim8, &sMasterConfig) != HAL_OK)
  {
    Error_Handler();
  }

}

static void MX_TIM9_Init(void)
{

  TIM_ClockConfigTypeDef sClockSourceConfig = {0};

  htim9.Instance = TIM9;
  htim9.Init.Prescaler = 179;
  htim9.Init.CounterMode = TIM_COUNTERMODE_UP;
  htim9.Init.Period = 999;
  htim9.Init.ClockDivision = TIM_CLOCKDIVISION_DIV1;
  htim9.Init.AutoReloadPreload = TIM_AUTORELOAD_PRELOAD_DISABLE;
  if (HAL_TIM_Base_Init(&htim9) != HAL_OK)
  {
    Error_Handler();
  }
  sClockSourceConfig.ClockSource = TIM_CLOCKSOURCE_INTERNAL;
  if (HAL_TIM_ConfigClockSource(&htim9, &sClockSourceConfig) != HAL_OK)
  {
    Error_Handler();
  }

}

static void MX_USART1_UART_Init(void)
{

  huart1.Instance = USART1;
  huart1.Init.BaudRate = 115200;
  huart1.Init.WordLength = UART_WORDLENGTH_8B;
  huart1.Init.StopBits = UART_STOPBITS_1;
  huart1.Init.Parity = UART_PARITY_NONE;
  huart1.Init.Mode = UART_MODE_TX_RX;
  huart1.Init.HwFlowCtl = UART_HWCONTROL_NONE;
  huart1.Init.OverSampling = UART_OVERSAMPLING_16;
  if (HAL_UART_Init(&huart1) != HAL_OK)
  {
    Error_Handler();
  }

}

static void MX_DMA_Init(void)
{

  /* DMA controller clock enable */
  __HAL_RCC_DMA2_CLK_ENABLE();

  /* DMA interrupt init */
  /* DMA2_Stream0_IRQn interrupt configuration */
  HAL_NVIC_SetPriority(DMA2_Stream0_IRQn, 0, 0);
  HAL_NVIC_EnableIRQ(DMA2_Stream0_IRQn);
  /* DMA2_Stream3_IRQn interrupt configuration */
  HAL_NVIC_SetPriority(DMA2_Stream3_IRQn, 0, 0);
  HAL_NVIC_EnableIRQ(DMA2_Stream3_IRQn);
  /* DMA2_Stream6_IRQn interrupt configuration */
  HAL_NVIC_SetPriority(DMA2_Stream6_IRQn, 0, 0);
  HAL_NVIC_EnableIRQ(DMA2_Stream6_IRQn);

}

static void MX_GPIO_Init(void)
{
  GPIO_InitTypeDef GPIO_InitStruct = {0};

  /* GPIO Ports Clock Enable */
  __HAL_RCC_GPIOC_CLK_ENABLE();
  __HAL_RCC_GPIOH_CLK_ENABLE();
  __HAL_RCC_GPIOA_CLK_ENABLE();
  __HAL_RCC_GPIOB_CLK_ENABLE();
  __HAL_RCC_GPIOD_CLK_ENABLE();

  /*Configure GPIO pin Output Level */
  HAL_GPIO_WritePin(GPIOC, AIR_PLUS_Pin|AIR_MINUS_Pin|AIR_PRE_Pin|AMS_FAULT_MCU_Pin
                          |SPI2_CS1_Pin|SPI2_CS2_Pin, GPIO_PIN_RESET);

  /*Configure GPIO pin Output Level */
  HAL_GPIO_WritePin(GPIOB, LED1_Pin|LED2_Pin|LED3_Pin, GPIO_PIN_RESET);

  /*Configure GPIO pins : AIR_PLUS_Pin AIR_MINUS_Pin AIR_PRE_Pin AMS_FAULT_MCU_Pin
                           SPI2_CS1_Pin SPI2_CS2_Pin */
  GPIO_InitStruct.Pin = AIR_PLUS_Pin|AIR_MINUS_Pin|AIR_PRE_Pin|AMS_FAULT_MCU_Pin
                          |SPI2_CS1_Pin|SPI2_CS2_Pin;
  GPIO_InitStruct.Mode = GPIO_MODE_OUTPUT_PP;
  GPIO_InitStruct.Pull = GPIO_NOPULL;
  GPIO_InitStruct.Speed = GPIO_SPEED_FREQ_LOW;
  HAL_GPIO_Init(GPIOC, &GPIO_InitStruct);

  /*Configure GPIO pin : SAFETY_DETECTION_Pin */
  GPIO_InitStruct.Pin = SAFETY_DETECTION_Pin;
  GPIO_InitStruct.Mode = GPIO_MODE_INPUT;
  GPIO_InitStruct.Pull = GPIO_NOPULL;
  HAL_GPIO_Init(SAFETY_DETECTION_GPIO_Port, &GPIO_InitStruct);

  /*Configure GPIO pins : LED1_Pin LED2_Pin LED3_Pin */
  GPIO_InitStruct.Pin = LED1_Pin|LED2_Pin|LED3_Pin;
  GPIO_InitStruct.Mode = GPIO_MODE_OUTPUT_PP;
  GPIO_InitStruct.Pull = GPIO_NOPULL;
  GPIO_InitStruct.Speed = GPIO_SPEED_FREQ_LOW;
  HAL_GPIO_Init(GPIOB, &GPIO_InitStruct);

  /*Configure GPIO pin : CARD_DETECT_Pin */
  GPIO_InitStruct.Pin = CARD_DETECT_Pin;
  GPIO_InitStruct.Mode = GPIO_MODE_INPUT;
  GPIO_InitStruct.Pull = GPIO_NOPULL;
  HAL_GPIO_Init(CARD_DETECT_GPIO_Port, &GPIO_InitStruct);

  /*Configure GPIO pins : DIN_1_Pin DIN_2_Pin DIN_3_Pin */
  GPIO_InitStruct.Pin = DIN_1_Pin|DIN_2_Pin|DIN_3_Pin;
  GPIO_InitStruct.Mode = GPIO_MODE_INPUT;
  GPIO_InitStruct.Pull = GPIO_NOPULL;
  HAL_GPIO_Init(GPIOB, &GPIO_InitStruct);

}

/* USER CODE BEGIN 4 */
void HAL_TIM_PeriodElapsedCallback(TIM_HandleTypeDef *htim)
{
	if (htim->Instance == TIM9)
	{
		MainInterruptCallback();
	}
}

void HAL_UART_RxCpltCallback(UART_HandleTypeDef *huart)
{
	SerialportRxCallback();
}

void HAL_UART_TxCpltCallback(UART_HandleTypeDef *huart)
{
	SerialportTxCallback();
}

void HAL_SPI_TxCpltCallback(SPI_HandleTypeDef *hspi)
{
	LtcTxCallback();
}

void HAL_SPI_TxRxCpltCallback(SPI_HandleTypeDef *hspi)
{
	LtcTxCallback();
}
/* USER CODE END 4 */

void Error_Handler(void)
{
  __disable_irq();
  while (1)
  {
  }
}

/************************ (C) COPYRIGHT STMicroelectronics *****END OF FILE****/
